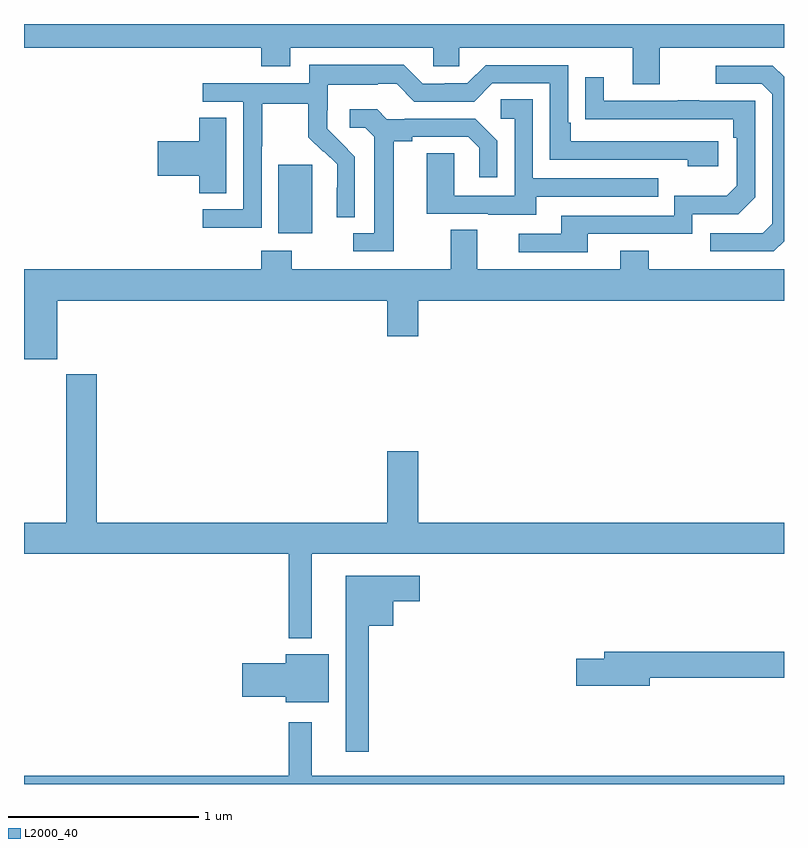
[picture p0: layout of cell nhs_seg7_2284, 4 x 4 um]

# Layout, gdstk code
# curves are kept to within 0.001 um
import gdstk
lib = gdstk.Library(unit=1e-6, precision=1e-09)
def R(c, l, rs):  # rectangles x0, y0, x1, y1
    for r in rs: c.add(gdstk.rectangle(r[:2], r[2:], *l))
def P(c, l, *ps):  # polygons
    for p in ps: c.add(gdstk.Polygon(p, *l))
L2000_40 = (2000, 40)

nhs_seg7_2284 = lib.new_cell('nhs_seg7_2284')
R(nhs_seg7_2284, L2000_40, [(260.339,1072.898,260.518,1073.259)])
P(nhs_seg7_2284, L2000_40, [(262.345,1073.876),(263,1073.876),(263,1074),(259,1074),(259,1073.876),(260.249,1073.876),(260.249,1073.777),(260.401,1073.777),(260.401,1073.876),(261.153,1073.876),(261.153,1073.778),(261.291,1073.778),(261.291,1073.876),(262.205,1073.876),(262.205,1073.682),(262.345,1073.682)],
  [(260.25,1073.356),(260.253,1073.356),(260.253,1073.58),(260.497,1073.58),(260.497,1073.405),(260.574,1073.328),(260.577,1073.331),(260.648,1073.261),(260.648,1073.138),(260.646,1073.138),(260.646,1072.984),(260.742,1072.984),(260.742,1073.302),(260.596,1073.45),(260.596,1073.547),(260.598,1073.547),(260.598,1073.681),(260.861,1073.681),(260.861,1073.685),(260.961,1073.685),(261.054,1073.592),(261.369,1073.592),(261.465,1073.688),(261.768,1073.688),(261.768,1073.286),(262.493,1073.286),(262.493,1073.252),(262.654,1073.252),(262.654,1073.382),(261.877,1073.382),(261.877,1073.479),(261.864,1073.479),(261.864,1073.784),(261.429,1073.784),(261.333,1073.688),(261.215,1073.688),(261.215,1073.685),(261.099,1073.685),(260.999,1073.785),(260.502,1073.785),(260.502,1073.688),(259.941,1073.688),(259.941,1073.592),(260.154,1073.592),(260.154,1073.025),(259.941,1073.025),(259.941,1072.927),(260.25,1072.927)],
  [(263,1072.856),(263,1073.722),(262.941,1073.781),(262.641,1073.781),(262.641,1073.685),(262.884,1073.685),(262.938,1073.631),(262.938,1072.95),(262.887,1072.899),(262.611,1072.899),(262.611,1072.803),(262.947,1072.803)],
  [(261.967,1072.896),(262.518,1072.896),(262.518,1072.998),(262.758,1072.998),(262.848,1073.088),(262.848,1073.595),(262.553,1073.595),(262.553,1073.6),(262.441,1073.6),(262.441,1073.595),(262.051,1073.595),(262.051,1073.719),(261.955,1073.719),(261.955,1073.5),(262.732,1073.499),(262.732,1073.402),(262.752,1073.402),(262.752,1073.148),(262.699,1073.095),(262.422,1073.095),(262.422,1072.992),(261.827,1072.992),(261.827,1072.896),(261.603,1072.896),(261.603,1072.8),(261.967,1072.8)],
  [(261.697,1073.091),(262.337,1073.091),(262.337,1073.187),(261.678,1073.187),(261.678,1073.603),(261.51,1073.603),(261.51,1073.502),(261.582,1073.502),(261.582,1073.097),(261.264,1073.097),(261.264,1073.321),(261.119,1073.321),(261.119,1073.001),(261.443,1073.001),(261.443,1072.997),(261.697,1072.997)],
  [(260.947,1073.384),(261.043,1073.384),(261.043,1073.406),(261.338,1073.406),(261.395,1073.349),(261.395,1073.193),(261.492,1073.193),(261.492,1073.386),(261.376,1073.502),(261.004,1073.502),(261.004,1073.499),(260.91,1073.499),(260.858,1073.551),(260.715,1073.551),(260.715,1073.454),(260.796,1073.454),(260.843,1073.407),(260.843,1072.899),(260.733,1072.899),(260.733,1072.803),(260.947,1072.803)],
  [(260.065,1073.507),(259.922,1073.507),(259.922,1073.384),(259.704,1073.384),(259.704,1073.201),(259.922,1073.201),(259.922,1073.11),(260.065,1073.11)],
  [(260.409,1072.807),(260.249,1072.807),(260.249,1072.708),(259,1072.708),(259,1072.235),(259.174,1072.235),(259.174,1072.544),(260.912,1072.544),(260.912,1072.356),(261.076,1072.356),(261.076,1072.544),(263,1072.544),(263,1072.708),(262.287,1072.708),(262.287,1072.807),(262.139,1072.807),(262.139,1072.708),(261.385,1072.708),(261.385,1072.916),(261.245,1072.916),(261.245,1072.708),(260.409,1072.708)],
  [(260.515,1071.212),(263,1071.212),(263,1071.376),(261.076,1071.376),(261.076,1071.751),(260.912,1071.751),(260.912,1071.376),(259.382,1071.376),(259.382,1072.156),(259.222,1072.156),(259.222,1071.376),(259,1071.376),(259,1071.212),(260.394,1071.212),(260.394,1070.768),(260.515,1070.768)],
  [(260.815,1070.834),(260.944,1070.834),(260.944,1070.963),(261.082,1070.963),(261.082,1071.097),(260.693,1071.097),(260.693,1070.169),(260.815,1070.169)],
  [(262.294,1070.56),(263,1070.56),(263,1070.696),(262.055,1070.696),(262.055,1070.66),(261.906,1070.66),(261.906,1070.518),(262.294,1070.518)],
  [(260.605,1070.683),(260.378,1070.683),(260.378,1070.636),(260.148,1070.636),(260.148,1070.458),(260.378,1070.458),(260.378,1070.429),(260.605,1070.429)],
  [(263,1070.044),(260.515,1070.044),(260.515,1070.326),(260.394,1070.326),(260.394,1070.044),(259,1070.044),(259,1070),(263,1070)])

lib.write_gds('nhs_seg7_2284.gds')
